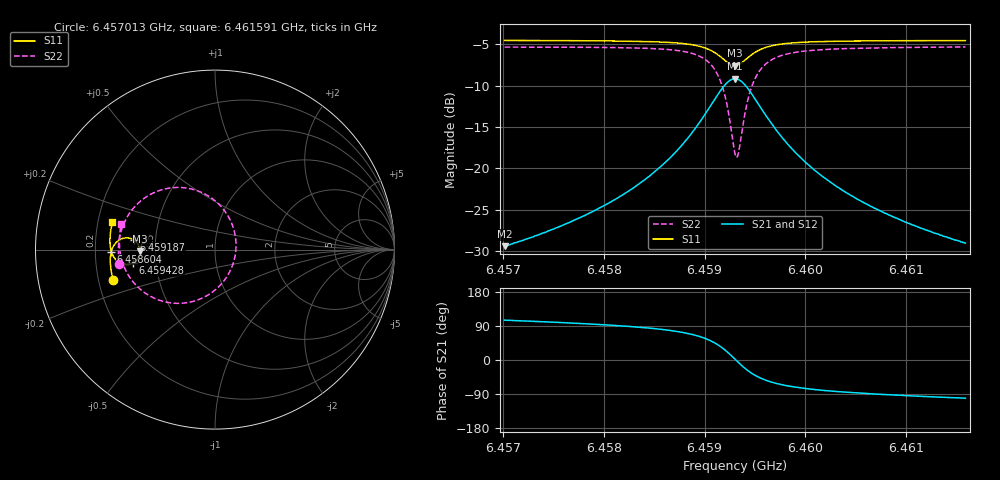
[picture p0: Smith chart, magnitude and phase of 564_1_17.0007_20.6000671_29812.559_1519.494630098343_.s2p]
#  HZ  S  RI  R  50.00
! Rohde & Schwarz Vector Network Analyzer
! Rohde-Schwarz,ZNB20-2Port,1311601062101988,3.16
! Created: UTC 3/20/2024, 11:17:19 PM
! freq[Hz]  re:S11  im:S11  re:S21  im:S21  re:S12  im:S12  re:S22  im:S22
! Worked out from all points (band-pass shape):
!   401 points, 6.457013 GHz to 6.461591 GHz, reference 50 ohm
!   highest |S21| = -9.17 dB at 6.459302 GHz (marker M1); lowest = -29.4 dB at 6.457013 GHz (marker M2)
!   |S21| within 3 dB of the highest: 6.459073 GHz to 6.459531 GHz (457.3 kHz wide, 0.00708 % of centre)
!   lowest |S11| = -7.6 dB at 6.459302 GHz (marker M3), VSWR 2.43, Z = 20.6 - j0.442 ohm
!   |S11| at or under -10 dB: nowhere
!   |S22| runs from -18.7 to -5.3 dB; largest |S21 - S12| = 0.014
!   S11 on the Smith chart (normalised r, x): 6.457013 GHz: 0.26, -0.14; 6.458604 GHz: 0.27, -0.01; 6.459187 GHz: 0.37, +0.05; 6.459428 GHz: 0.37, -0.07; 6.461591 GHz: 0.26, +0.12
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6.4570127e9  -0.5674 -0.1696  -0.00878 0.0327  -0.00706 0.0326  -0.5335 -0.0818
6.4577796e9  -0.5812 -0.1024  -0.00541 0.0508  -0.00289 0.0501  -0.5384 0.00855
6.4581916e9  -0.5839 -0.061  0.00042 0.0695  0.00365 0.0682  -0.5302 0.074
6.4585465e9  -0.5798 -0.0185  0.0148 0.0992  0.0188 0.0965  -0.5038 0.154
6.4586037e9  -0.578 -0.0106  0.0191 0.1062  0.0231 0.1031  -0.4954 0.1706
6.4588097e9  -0.5647 0.0214  0.0468 0.1387  0.051 0.1337  -0.4434 0.2434
6.4589585e9  -0.542 0.0477  0.0924 0.1692  0.0957 0.1624  -0.3591 0.3079
6.4590959e9  -0.4979 0.0651  0.1802 0.1856  0.1811 0.1782  -0.1985 0.3463
6.4591874e9  -0.453 0.0547  0.2707 0.154  0.2709 0.1481  -0.0307 0.2948
6.4592561e9  -0.4239 0.0223  0.3314 0.0813  0.3336 0.076  0.0853 0.1638
6.4593019e9  -0.417 -0.00888  0.3476 0.0129  0.3514 0.00586  0.1171 0.0354
6.4593133e9  -0.4174 -0.017  0.3474 -0.00494  0.3513 -0.0125  0.1165 0.00162
6.4593362e9  -0.4211 -0.0328  0.3416 -0.04  0.3455 -0.0491  0.1052 -0.0648
6.459382e9  -0.4368 -0.059  0.3125 -0.1001  0.315 -0.1123  0.0463 -0.1787
6.4594278e9  -0.4591 -0.0754  0.2702 -0.1413  0.2692 -0.1547  -0.04 -0.2539
6.4595194e9  -0.5028 -0.0822  0.1846 -0.1722  0.1783 -0.1841  -0.2106 -0.2995
6.4596682e9  -0.5467 -0.0615  0.0962 -0.1579  0.0876 -0.1642  -0.3791 -0.2487
6.4598284e9  -0.5685 -0.0337  0.0512 -0.1296  0.0435 -0.1324  -0.4597 -0.1756
6.4600688e9  -0.581 0.00174  0.022 -0.0979  0.016 -0.0984  -0.5077 -0.0927
6.4604007e9  -0.5855 0.0416  0.00628 -0.0715  0.00225 -0.071  -0.5286 -0.0152
6.4608356e9  -0.5834 0.0855  -0.00159 -0.0521  -0.00448 -0.0513  -0.5329 0.0553
6.4615911e9  -0.5713 0.1524  -0.00656 -0.0348  -0.00839 -0.0337  -0.5212 0.1448
